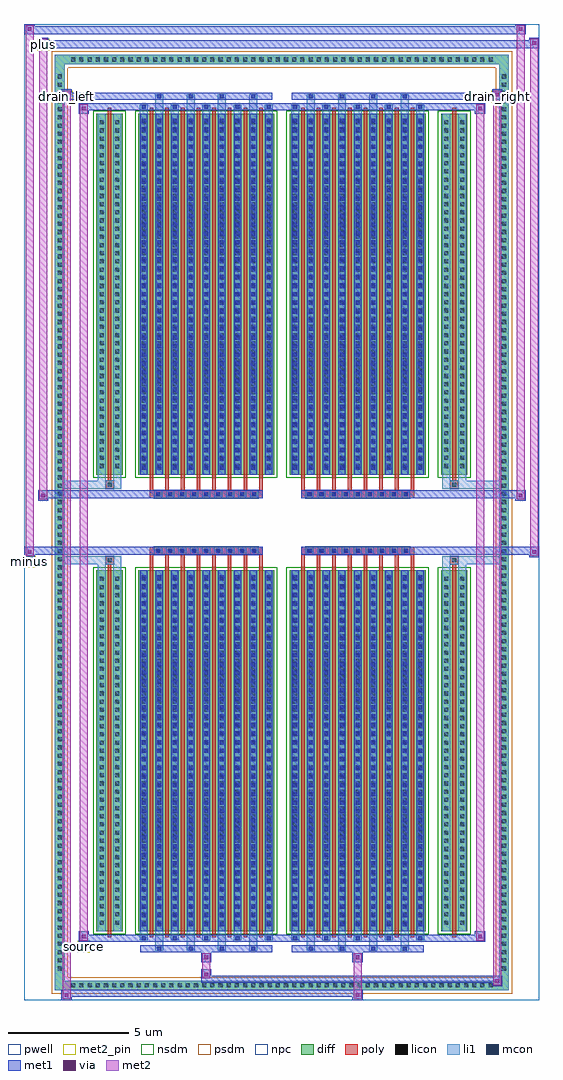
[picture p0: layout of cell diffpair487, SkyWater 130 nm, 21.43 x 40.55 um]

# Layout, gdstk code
import gdstk
lib = gdstk.Library(unit=1e-6, precision=5e-09)
def R(c, l, rs):  # rectangles x0, y0, x1, y1
    for r in rs: c.add(gdstk.rectangle(r[:2], r[2:], *l))
def A(c, l, x, y, w, h, nx, ny, dx, dy):  # array of equal rectangles
    R(c, l, [(x+i*dx, y+j*dy, x+i*dx+w, y+j*dy+h) for i in range(nx) for j in range(ny)])
def P(c, l, *ps):  # polygons
    for p in ps: c.add(gdstk.Polygon(p, *l))
pwell = (64, 44)
diff = (65, 20)
poly = (66, 20)
licon = (66, 44)
li1 = (67, 20)
mcon = (67, 44)
met1 = (68, 20)
via = (68, 44)
met2_pin = (69, 16)
met2 = (69, 20)
nsdm = (93, 44)
psdm = (94, 20)
npc = (95, 20)

diffpair487 = lib.new_cell('diffpair487')
R(diffpair487, pwell, [(-10.7,-19.84,10.7,20.71), (-8.02,-18.03,-0.01,-0.805), (0.01,-18.03,8.02,-0.805), (-8.02,0.805,-0.01,18.03), (0.01,0.805,8.02,18.03)])
A(diffpair487, diff, -8.875, -19.44, 0.41, 0.41, 52, 2, 0.34, 38.47)
A(diffpair487, diff, -9.43, -18.735, 0.41, 0.41, 1, 110, 0, 0.34)
A(diffpair487, diff, 9.02, -18.735, 0.41, 0.41, 1, 110, 0, 0.34)
R(diffpair487, diff, [(-8.875,-19.44,8.875,-19.03), (-9.43,-18.735,-9.02,18.735), (9.02,-18.735,9.43,18.735), (-7.71,-16.985,-6.61,-1.985), (-5.97,-16.985,-0.32,-1.985), (0.32,-16.985,5.97,-1.985), (6.61,-16.985,7.71,-1.985), (-7.71,1.985,-6.61,16.985), (-5.97,1.985,-0.32,16.985), (0.32,1.985,5.97,16.985), (6.61,1.985,7.71,16.985), (-8.875,19.03,8.875,19.44)])
P(diffpair487, diff, [(9.43,19.44),(-9.43,19.44),(-9.43,-19.03),(-9.02,-19.03),(-9.02,19.03),(9.02,19.03),(9.02,-19.03),(-9.02,-19.03),(-9.43,-19.03),(-9.43,-19.44),(9.43,-19.44)])
A(diffpair487, poly, -5.495, -17.235, 0.15, 15.5, 8, 2, 0.65, 18.97)
A(diffpair487, poly, 0.795, -17.235, 0.15, 15.5, 8, 2, 0.65, 18.97)
A(diffpair487, poly, -5.495, -1.735, 0.15, 0.4, 8, 2, 0.65, 3.07)
A(diffpair487, poly, 0.795, -1.735, 0.15, 0.4, 8, 2, 0.65, 3.07)
A(diffpair487, poly, -5.31, -1.335, 0.33, 0.33, 9, 2, 0.5, 2.34)
A(diffpair487, poly, 0.98, -1.335, 0.33, 0.33, 9, 2, 0.5, 2.34)
R(diffpair487, poly, [(-7.235,-17.235,-7.085,-1.735), (7.085,-17.235,7.235,-1.735), (-7.325,-1.735,-6.995,-1.405), (-7.325,-1.735,-6.995,-1.405), (6.995,-1.735,7.325,-1.405), (6.995,-1.735,7.325,-1.405), (-5.495,-1.335,-0.795,-1.005), (0.795,-1.335,5.495,-1.005), (-5.495,1.005,-0.795,1.335), (0.795,1.005,5.495,1.335), (-7.325,1.405,-6.995,1.735), (-7.325,1.405,-6.995,1.735), (6.995,1.405,7.325,1.735), (6.995,1.405,7.325,1.735), (-7.235,1.735,-7.085,17.235), (7.085,1.735,7.235,17.235)])
A(diffpair487, licon, -8.755, -19.32, 0.17, 0.17, 52, 2, 0.34, 38.47)
A(diffpair487, licon, -9.31, -18.615, 0.17, 0.17, 1, 110, 0, 0.34)
A(diffpair487, licon, 9.14, -18.615, 0.17, 0.17, 1, 110, 0, 0.34)
A(diffpair487, licon, -7.57, -16.71, 0.17, 0.17, 1, 43, 0, 0.34)
A(diffpair487, licon, -6.92, -16.71, 0.17, 0.17, 1, 43, 0, 0.34)
A(diffpair487, licon, -5.83, -16.71, 0.17, 0.17, 9, 43, 0.65, 0.34)
A(diffpair487, licon, 0.46, -16.71, 0.17, 0.17, 9, 43, 0.65, 0.34)
A(diffpair487, licon, 6.75, -16.71, 0.17, 0.17, 1, 43, 0, 0.34)
A(diffpair487, licon, 7.4, -16.71, 0.17, 0.17, 1, 43, 0, 0.34)
A(diffpair487, licon, -5.23, -1.255, 0.17, 0.17, 9, 2, 0.5, 2.34)
A(diffpair487, licon, 1.06, -1.255, 0.17, 0.17, 9, 2, 0.5, 2.34)
A(diffpair487, licon, -7.57, 2.26, 0.17, 0.17, 1, 43, 0, 0.34)
A(diffpair487, licon, -6.92, 2.26, 0.17, 0.17, 1, 43, 0, 0.34)
A(diffpair487, licon, -5.83, 2.26, 0.17, 0.17, 9, 43, 0.65, 0.34)
A(diffpair487, licon, 0.46, 2.26, 0.17, 0.17, 9, 43, 0.65, 0.34)
A(diffpair487, licon, 6.75, 2.26, 0.17, 0.17, 1, 43, 0, 0.34)
A(diffpair487, licon, 7.4, 2.26, 0.17, 0.17, 1, 43, 0, 0.34)
R(diffpair487, licon, [(-7.245,-1.655,-7.075,-1.485), (7.075,-1.655,7.245,-1.485), (-7.245,1.485,-7.075,1.655), (7.075,1.485,7.245,1.655)])
A(diffpair487, li1, -8.835, -19.4, 0.33, 0.33, 52, 2, 0.34, 38.47)
A(diffpair487, li1, -9.39, -18.695, 0.33, 0.33, 1, 110, 0, 0.34)
A(diffpair487, li1, 9.06, -18.695, 0.33, 0.33, 1, 110, 0, 0.34)
A(diffpair487, li1, -5.26, -17.79, 0.33, 0.805, 4, 2, 1.3, 34.775)
A(diffpair487, li1, -5.18, -17.79, 0.17, 0.17, 4, 2, 1.3, 35.41)
A(diffpair487, li1, 1.03, -17.79, 0.33, 0.805, 4, 2, 1.3, 34.775)
A(diffpair487, li1, 1.11, -17.79, 0.17, 0.17, 4, 2, 1.3, 35.41)
A(diffpair487, li1, -5.91, -17.36, 0.33, 0.375, 5, 2, 1.3, 34.345)
A(diffpair487, li1, -5.83, -17.36, 0.17, 0.17, 5, 2, 1.3, 34.55)
A(diffpair487, li1, 0.38, -17.36, 0.33, 0.375, 5, 2, 1.3, 34.345)
A(diffpair487, li1, 0.46, -17.36, 0.17, 0.17, 5, 2, 1.3, 34.55)
A(diffpair487, li1, -5.91, -16.985, 0.33, 15, 9, 2, 0.65, 18.97)
A(diffpair487, li1, 0.38, -16.985, 0.33, 15, 9, 2, 0.65, 18.97)
A(diffpair487, li1, -7.65, -16.79, 0.33, 0.33, 1, 43, 0, 0.34)
A(diffpair487, li1, -7, -16.79, 0.33, 0.33, 1, 43, 0, 0.34)
A(diffpair487, li1, -5.91, -16.79, 0.33, 0.33, 9, 43, 0.65, 0.34)
A(diffpair487, li1, 0.38, -16.79, 0.33, 0.33, 9, 43, 0.65, 0.34)
A(diffpair487, li1, 6.67, -16.79, 0.33, 0.33, 1, 43, 0, 0.34)
A(diffpair487, li1, 7.32, -16.79, 0.33, 0.33, 1, 43, 0, 0.34)
A(diffpair487, li1, -5.83, -16.77, 0.17, 0.17, 9, 41, 0.65, 0.36)
A(diffpair487, li1, -5.83, -16.77, 0.17, 14.57, 9, 2, 0.65, 18.97)
A(diffpair487, li1, 0.46, -16.77, 0.17, 0.17, 9, 41, 0.65, 0.36)
A(diffpair487, li1, 0.46, -16.77, 0.17, 14.57, 9, 2, 0.65, 18.97)
A(diffpair487, li1, -5.31, -1.335, 0.33, 0.33, 9, 2, 0.5, 2.34)
A(diffpair487, li1, 0.98, -1.335, 0.33, 0.33, 9, 2, 0.5, 2.34)
A(diffpair487, li1, -7.65, 2.18, 0.33, 0.33, 1, 43, 0, 0.34)
A(diffpair487, li1, -7, 2.18, 0.33, 0.33, 1, 43, 0, 0.34)
A(diffpair487, li1, -5.91, 2.18, 0.33, 0.33, 9, 43, 0.65, 0.34)
A(diffpair487, li1, 0.38, 2.18, 0.33, 0.33, 9, 43, 0.65, 0.34)
A(diffpair487, li1, 6.67, 2.18, 0.33, 0.33, 1, 43, 0, 0.34)
A(diffpair487, li1, 7.32, 2.18, 0.33, 0.33, 1, 43, 0, 0.34)
A(diffpair487, li1, -5.83, 2.2, 0.17, 0.17, 9, 41, 0.65, 0.36)
A(diffpair487, li1, 0.46, 2.2, 0.17, 0.17, 9, 41, 0.65, 0.36)
R(diffpair487, li1, [(-9.43,-19.44,-9.02,-19.03), (-9.43,-19.44,-9.02,-19.03), (-9.02,-19.44,9.02,-19.03), (9.02,-19.44,9.43,-19.03), (9.02,-19.44,9.43,-19.03), (-9.43,-19.03,-9.02,19.03), (9.02,-19.03,9.43,19.03), (-7.65,-16.985,-7.32,-1.985), (-7,-16.985,-6.67,-1.985), (6.67,-16.985,7,-1.985), (7.32,-16.985,7.65,-1.985), (-7.65,-1.985,-7.32,-1.405), (-7,-1.985,-6.67,-1.405), (6.67,-1.985,7,-1.405), (7.32,-1.985,7.65,-1.405), (-9.43,-1.735,-7.325,-1.405), (-7.65,-1.735,-7.325,-1.405), (-7.325,-1.735,-6.995,-1.405), (-6.995,-1.735,-6.67,-1.405), (6.67,-1.735,6.995,-1.405), (6.995,-1.735,7.325,-1.405), (6.995,-1.735,9.43,-1.405), (7.325,-1.735,7.65,-1.405), (-9.43,1.405,-7.325,1.735), (-7.65,1.405,-7.325,1.735), (-7.65,1.405,-7.32,1.985), (-7.325,1.405,-6.995,1.735), (-7,1.405,-6.67,1.985), (-6.995,1.405,-6.67,1.735), (6.67,1.405,6.995,1.735), (6.67,1.405,7,1.985), (6.995,1.405,7.325,1.735), (6.995,1.405,9.43,1.735), (7.32,1.405,7.65,1.985), (7.325,1.405,7.65,1.735), (-7.65,1.985,-7.32,16.985), (-7,1.985,-6.67,16.985), (6.67,1.985,7,16.985), (7.32,1.985,7.65,16.985), (-9.43,19.03,-9.02,19.44), (-9.43,19.03,-9.02,19.44), (-9.02,19.03,9.02,19.44), (9.02,19.03,9.43,19.44), (9.02,19.03,9.43,19.44)])
A(diffpair487, mcon, -5.18, -17.79, 0.17, 0.17, 4, 2, 1.3, 35.41)
A(diffpair487, mcon, 1.11, -17.79, 0.17, 0.17, 4, 2, 1.3, 35.41)
A(diffpair487, mcon, -5.83, -17.36, 0.17, 0.17, 5, 2, 1.3, 34.55)
A(diffpair487, mcon, 0.46, -17.36, 0.17, 0.17, 5, 2, 1.3, 34.55)
A(diffpair487, mcon, -5.83, -16.77, 0.17, 0.17, 9, 41, 0.65, 0.36)
A(diffpair487, mcon, 0.46, -16.77, 0.17, 0.17, 9, 41, 0.65, 0.36)
A(diffpair487, mcon, -5.23, -1.255, 0.17, 0.17, 9, 2, 0.5, 2.34)
A(diffpair487, mcon, 1.06, -1.255, 0.17, 0.17, 9, 2, 0.5, 2.34)
A(diffpair487, mcon, -5.83, 2.2, 0.17, 0.17, 9, 41, 0.65, 0.36)
A(diffpair487, mcon, 0.46, 2.2, 0.17, 0.17, 9, 41, 0.65, 0.36)
A(diffpair487, met1, -5.24, -17.85, 0.29, 0.29, 4, 2, 1.3, 35.41)
A(diffpair487, met1, 1.05, -17.85, 0.29, 0.29, 4, 2, 1.3, 35.41)
A(diffpair487, met1, -5.89, -17.42, 0.29, 0.29, 5, 2, 1.3, 34.55)
A(diffpair487, met1, 0.4, -17.42, 0.29, 0.29, 5, 2, 1.3, 34.55)
A(diffpair487, met1, -5.89, -16.985, 0.29, 15, 9, 2, 0.65, 18.97)
A(diffpair487, met1, 0.4, -16.985, 0.29, 15, 9, 2, 0.65, 18.97)
A(diffpair487, met1, -5.89, -16.83, 0.29, 0.29, 9, 41, 0.65, 0.36)
A(diffpair487, met1, 0.4, -16.83, 0.29, 0.29, 9, 41, 0.65, 0.36)
A(diffpair487, met1, -5.29, -1.315, 0.29, 0.29, 9, 2, 0.5, 2.34)
A(diffpair487, met1, 1, -1.315, 0.29, 0.29, 9, 2, 0.5, 2.34)
A(diffpair487, met1, -5.89, 2.14, 0.29, 0.29, 9, 41, 0.65, 0.36)
A(diffpair487, met1, 0.4, 2.14, 0.29, 0.29, 9, 41, 0.65, 0.36)
R(diffpair487, met1, [(-9.16,-19.84,-8.73,-19.41), (2.93,-19.84,3.36,-19.41), (-9.16,-19.7,3.36,-19.41), (8.73,-19.27,9.16,-18.84), (-3.36,-19.13,9.16,-18.84), (-3.36,-18.99,-2.93,-18.56), (-3.36,-18.28,-2.93,-17.85), (2.93,-18.28,3.36,-17.85), (-5.89,-17.85,-0.4,-17.56), (0.4,-17.85,5.89,-17.56), (-8.45,-17.42,-8.02,-16.99), (-8.45,-17.42,-5.89,-17.13), (-5.89,-17.42,-0.4,-17.13), (-0.4,-17.42,0.4,-17.13), (0.4,-17.42,5.89,-17.13), (5.89,-17.42,8.45,-17.13), (8.02,-17.42,8.45,-16.99), (-10.7,-1.435,-10.27,-1.005), (10.27,-1.435,10.7,-1.005), (-10.7,-1.335,-0.795,-1.005), (-5.495,-1.335,-0.795,-1.005), (0.795,-1.335,5.495,-1.005), (0.795,-1.335,10.7,-1.005), (-10.13,0.905,-9.7,1.335), (9.7,0.905,10.13,1.335), (-10.13,1.005,-5.495,1.335), (-5.495,1.005,-0.795,1.335), (0.795,1.005,5.495,1.335), (5.495,1.005,10.13,1.335), (-8.45,16.99,-8.02,17.42), (8.02,16.99,8.45,17.42), (-8.45,17.13,-5.89,17.42), (-5.89,17.13,-0.4,17.42), (-0.4,17.13,0.4,17.42), (0.4,17.13,5.89,17.42), (5.89,17.13,8.45,17.42), (-9.16,17.56,-8.73,17.99), (-9.16,17.56,-5.89,17.85), (-5.89,17.56,-0.4,17.85), (0.4,17.56,5.89,17.85), (5.89,17.56,9.16,17.85), (8.73,17.56,9.16,17.99), (-10.13,19.71,-9.7,20.14), (-10.13,19.71,-8.02,20.04), (-8.02,19.71,8.02,20.04), (8.02,19.71,10.7,20.04), (10.27,19.71,10.7,20.14), (-10.7,20.28,-10.27,20.71), (-10.7,20.28,-8.02,20.61), (-8.02,20.28,8.02,20.61), (8.02,20.28,10.13,20.61), (9.7,20.28,10.13,20.71)])
R(diffpair487, via, [(-9.02,-19.7,-8.87,-19.55), (3.07,-19.7,3.22,-19.55), (8.87,-19.13,9.02,-18.98), (-3.22,-18.85,-3.07,-18.7), (-3.22,-18.14,-3.07,-17.99), (3.07,-18.14,3.22,-17.99), (-8.31,-17.28,-8.16,-17.13), (8.16,-17.28,8.31,-17.13), (-10.56,-1.295,-10.41,-1.145), (10.41,-1.295,10.56,-1.145), (-9.99,1.045,-9.84,1.195), (9.84,1.045,9.99,1.195), (-8.31,17.13,-8.16,17.28), (8.16,17.13,8.31,17.28), (-9.02,17.7,-8.87,17.85), (8.87,17.7,9.02,17.85), (-9.99,19.85,-9.84,20), (10.41,19.85,10.56,20), (-10.56,20.42,-10.41,20.57), (9.84,20.42,9.99,20.57)])
R(diffpair487, met2_pin, [(-8.485,-17.87,-7.985,-17.37), (-10.735,-1.885,-10.235,-1.385), (-9.195,17.44,-8.695,17.94), (8.695,17.44,9.195,17.94), (-10.165,19.59,-9.665,20.09)])
R(diffpair487, met2, [(-9.11,-19.79,-8.78,-19.46), (-9.11,-19.79,-8.78,17.94), (2.98,-19.79,3.31,-19.46), (2.98,-19.46,3.31,-18.23), (8.78,-19.22,9.11,-18.89), (8.78,-19.22,9.11,17.94), (-3.31,-18.94,-2.98,-18.61), (-3.31,-18.61,-2.98,-18.23), (-3.31,-18.23,-2.98,-17.9), (2.98,-18.23,3.31,-17.9), (-8.4,-17.37,-8.07,-17.04), (-8.4,-17.37,-8.07,17.37), (8.07,-17.37,8.4,-17.04), (8.07,-17.37,8.4,17.37), (-10.65,-1.385,-10.32,-1.055), (-10.65,-1.385,-10.32,20.66), (10.32,-1.385,10.65,-1.055), (10.32,-1.385,10.65,20.09), (-10.08,0.955,-9.75,1.285), (-10.08,0.955,-9.75,20.09), (9.75,0.955,10.08,1.285), (9.75,0.955,10.08,20.66), (-8.4,17.04,-8.07,17.37), (8.07,17.04,8.4,17.37), (-9.11,17.61,-8.78,17.94), (8.78,17.61,9.11,17.94), (-10.08,19.76,-9.75,20.09), (10.32,19.76,10.65,20.09), (-10.65,20.33,-10.32,20.66), (9.75,20.33,10.08,20.66)])
P(diffpair487, met2, [(10.65,-1.385),(10.65,-1.385),(10.65,-1.055),(10.65,-1.055)],
  [(10.65,19.76),(10.65,19.76),(10.65,20.09),(10.65,20.09)],
  [(-10.32,-1.385),(-10.32,-1.385),(-10.32,-1.055),(-10.32,-1.055)],
  [(-10.32,20.33),(-10.32,20.33),(-10.32,20.66),(-10.32,20.66)],
  [(10.08,0.955),(10.08,0.955),(10.08,1.285),(10.08,1.285)],
  [(10.08,20.33),(10.08,20.33),(10.08,20.66),(10.08,20.66)],
  [(-9.75,0.955),(-9.75,0.955),(-9.75,1.285),(-9.75,1.285)],
  [(-9.75,19.76),(-9.75,19.76),(-9.75,20.09),(-9.75,20.09)],
  [(-8.78,-19.79),(-8.78,-19.79),(-8.78,-19.46),(-8.78,-19.46)],
  [(-8.78,17.61),(-8.78,17.61),(-8.78,17.94),(-8.78,17.94)],
  [(9.11,-19.22),(9.11,-19.22),(9.11,-18.89),(9.11,-18.89)],
  [(9.11,17.61),(9.11,17.61),(9.11,17.94),(9.11,17.94)],
  [(-8.07,-17.37),(-8.07,-17.37),(-8.07,-17.04),(-8.07,-17.04)],
  [(-8.07,17.04),(-8.07,17.04),(-8.07,17.37),(-8.07,17.37)],
  [(8.4,-17.37),(8.4,-17.37),(8.4,-17.04),(8.4,-17.04)],
  [(8.4,17.04),(8.4,17.04),(8.4,17.37),(8.4,17.37)])
R(diffpair487, nsdm, [(-7.84,-17.115,-6.48,-1.855), (-6.1,-17.115,-0.19,-1.855), (0.19,-17.115,6.1,-1.855), (6.48,-17.115,7.84,-1.855), (-7.84,1.855,-6.48,17.115), (-6.1,1.855,-0.19,17.115), (0.19,1.855,6.1,17.115), (6.48,1.855,7.84,17.115)])
P(diffpair487, psdm, [(9.56,19.57),(-9.56,19.57),(-9.56,-18.9),(-8.89,-18.9),(-8.89,18.9),(8.89,18.9),(8.89,-18.9),(-8.89,-18.9),(-9.56,-18.9),(-9.56,-19.57),(9.56,-19.57)])
A(diffpair487, npc, -5.33, -1.355, 0.37, 0.37, 9, 2, 0.5, 2.34)
A(diffpair487, npc, 0.96, -1.355, 0.37, 0.37, 9, 2, 0.5, 2.34)
R(diffpair487, npc, [(-7.345,-1.755,-6.975,-1.385), (6.975,-1.755,7.345,-1.385), (-5.33,-1.355,-4.46,-0.985), (-5.33,-1.355,-4.46,-0.985), (-4.83,-1.355,-3.96,-0.985), (-4.83,-1.355,-3.96,-0.985), (-4.33,-1.355,-3.46,-0.985), (-4.33,-1.355,-3.46,-0.985), (-3.83,-1.355,-2.96,-0.985), (-3.83,-1.355,-2.96,-0.985), (-3.33,-1.355,-2.46,-0.985), (-3.33,-1.355,-2.46,-0.985), (-2.83,-1.355,-1.96,-0.985), (-2.83,-1.355,-1.96,-0.985), (-2.33,-1.355,-1.46,-0.985), (-2.33,-1.355,-1.46,-0.985), (-1.83,-1.355,-0.96,-0.985), (-1.83,-1.355,-0.96,-0.985), (0.96,-1.355,1.83,-0.985), (0.96,-1.355,1.83,-0.985), (1.46,-1.355,2.33,-0.985), (1.46,-1.355,2.33,-0.985), (1.96,-1.355,2.83,-0.985), (1.96,-1.355,2.83,-0.985), (2.46,-1.355,3.33,-0.985), (2.46,-1.355,3.33,-0.985), (2.96,-1.355,3.83,-0.985), (2.96,-1.355,3.83,-0.985), (3.46,-1.355,4.33,-0.985), (3.46,-1.355,4.33,-0.985), (3.96,-1.355,4.83,-0.985), (3.96,-1.355,4.83,-0.985), (4.46,-1.355,5.33,-0.985), (4.46,-1.355,5.33,-0.985), (-5.33,0.985,-4.46,1.355), (-5.33,0.985,-4.46,1.355), (-4.83,0.985,-3.96,1.355), (-4.83,0.985,-3.96,1.355), (-4.33,0.985,-3.46,1.355), (-4.33,0.985,-3.46,1.355), (-3.83,0.985,-2.96,1.355), (-3.83,0.985,-2.96,1.355), (-3.33,0.985,-2.46,1.355), (-3.33,0.985,-2.46,1.355), (-2.83,0.985,-1.96,1.355), (-2.83,0.985,-1.96,1.355), (-2.33,0.985,-1.46,1.355), (-2.33,0.985,-1.46,1.355), (-1.83,0.985,-0.96,1.355), (-1.83,0.985,-0.96,1.355), (0.96,0.985,1.83,1.355), (0.96,0.985,1.83,1.355), (1.46,0.985,2.33,1.355), (1.46,0.985,2.33,1.355), (1.96,0.985,2.83,1.355), (1.96,0.985,2.83,1.355), (2.46,0.985,3.33,1.355), (2.46,0.985,3.33,1.355), (2.96,0.985,3.83,1.355), (2.96,0.985,3.83,1.355), (3.46,0.985,4.33,1.355), (3.46,0.985,4.33,1.355), (3.96,0.985,4.83,1.355), (3.96,0.985,4.83,1.355), (4.46,0.985,5.33,1.355), (4.46,0.985,5.33,1.355), (-7.345,1.385,-6.975,1.755), (6.975,1.385,7.345,1.755)])
diffpair487.add(gdstk.Label('minus', (-10.485,-1.635), layer=69, texttype=5))
diffpair487.add(gdstk.Label('drain_right', (8.945,17.69), layer=69, texttype=5))
diffpair487.add(gdstk.Label('drain_left', (-8.945,17.69), layer=69, texttype=5))
diffpair487.add(gdstk.Label('source', (-8.235,-17.62), layer=69, texttype=5))
diffpair487.add(gdstk.Label('plus', (-9.915,19.84), layer=69, texttype=5))

lib.write_gds('diffpair487.gds')
